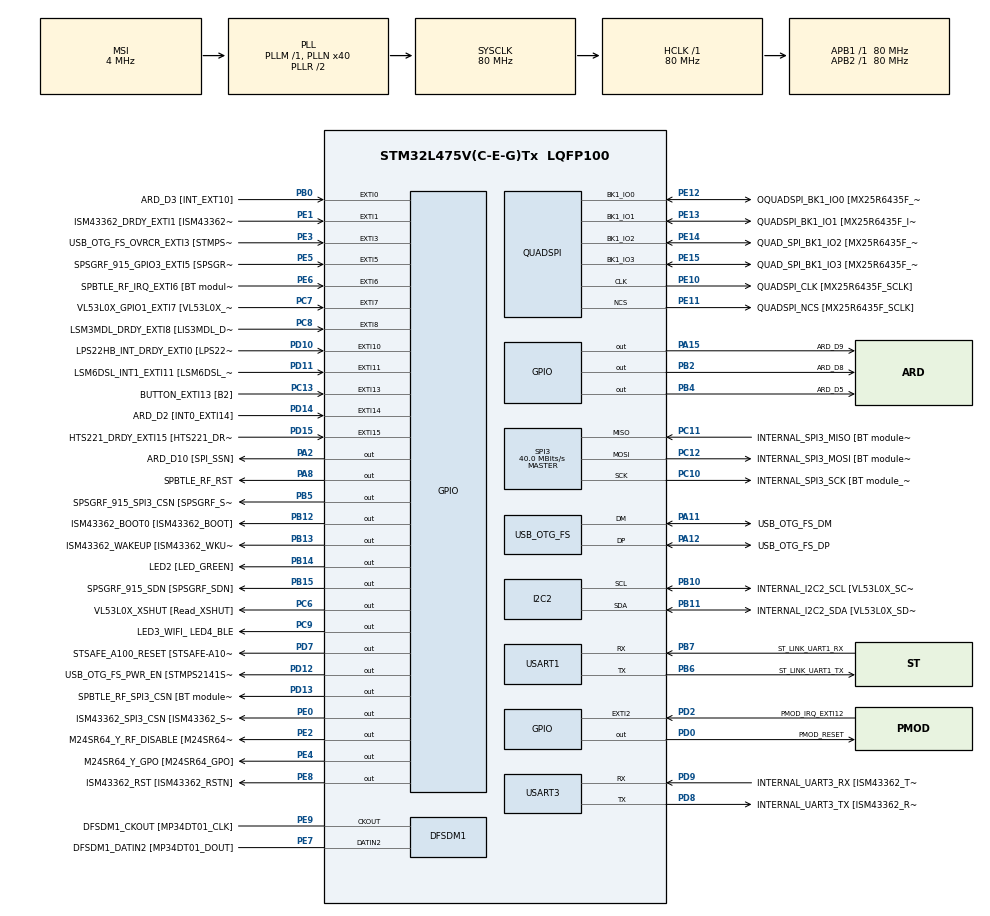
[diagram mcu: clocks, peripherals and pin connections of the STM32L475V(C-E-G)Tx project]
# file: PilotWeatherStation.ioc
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I2C2.Timing=0x10909CEC
Mcu.Family=STM32L4
Mcu.Name=STM32L475V(C-E-G)Tx
Mcu.Package=LQFP100
NVIC.EXTI15_10_IRQn=true\:0\:0\:false\:false\:true\:true\:true\:true
NVIC.EXTI9_5_IRQn=true\:0\:0\:false\:false\:true\:true\:true\:true
NVIC.PriorityGroup=NVIC_PRIORITYGROUP_4
PA0.GPIO_Label=ARD_D1 [UART4_TX]
PA0.Signal=UART4_TX
PA1.GPIO_Label=ARD_D0 [UART4_RX]
PA1.Signal=UART4_RX
PA10.GPIO_Label=USB_OTG_FS_ID
PA10.Signal=USB_OTG_FS_ID
PA11.GPIO_Label=USB_OTG_FS_DM
PA11.Mode=Device_Only
PA11.Signal=USB_OTG_FS_DM
PA12.GPIO_Label=USB_OTG_FS_DP
PA12.Mode=Device_Only
PA12.Signal=USB_OTG_FS_DP
PA13\ (JTMS-SWDIO).GPIO_Label=SYS_JTMS_SWDIO
PA13\ (JTMS-SWDIO).Mode=Serial_Wire
PA13\ (JTMS-SWDIO).Signal=SYS_JTMS-SWDIO
PA14\ (JTCK-SWCLK).GPIO_Label=SYS_JTCK_SWCLK
PA14\ (JTCK-SWCLK).Mode=Serial_Wire
PA14\ (JTCK-SWCLK).Signal=SYS_JTCK-SWCLK
PA15\ (JTDI).GPIO_Label=ARD_D9
PA15\ (JTDI).Signal=GPIO_Output
PA2.GPIO_Label=ARD_D10 [SPI_SSN]
PA2.Signal=GPIO_Output
PA3.GPIO_Label=ARD_D4
PA3.Signal=S_TIM2_CH4
PA4.GPIO_Label=ARD_D7
PA4.Signal=ADCx_IN9
PA5.GPIO_Label=ARD_D13 [SPI1_SCK]
PA5.Signal=SPI1_SCK
PA6.GPIO_Label=ARD_D12 [SPI1_MISO]
PA6.Signal=SPI1_MISO
PA7.GPIO_Label=ARD_D11 [SPI1_MOSI]
PA7.Signal=SPI1_MOSI
PA8.GPIO_Label=SPBTLE_RF_RST
PA8.Signal=GPIO_Output
PA9.GPIO_Label=USB_OTG_FS_VBUS [STMPS2141STR_OUT]
PA9.Signal=USB_OTG_FS_VBUS
PB0.GPIO_Label=ARD_D3 [INT_EXT10]
PB0.Signal=GPXTI0
PB1.GPIO_Label=ARD_D6 [ADC1_IN6]
PB1.Signal=ADCx_IN16
PB10.GPIO_Label=INTERNAL_I2C2_SCL [VL53L0X_SCL]
PB10.GPIO_Pu=GPIO_PULLUP
PB10.Mode=I2C
PB10.Signal=I2C2_SCL
PB11.GPIO_Label=INTERNAL_I2C2_SDA [VL53L0X_SDA]
PB11.GPIO_Pu=GPIO_PULLUP
PB11.Mode=I2C
PB11.Signal=I2C2_SDA
PB12.GPIO_Label=ISM43362_BOOT0 [ISM43362_BOOT]
PB12.Signal=GPIO_Output
PB13.GPIO_Label=ISM43362_WAKEUP [ISM43362_WKUP]
PB13.Signal=GPIO_Output
PB14.GPIO_Label=LED2 [LED_GREEN]
PB14.Signal=GPIO_Output
PB15.GPIO_Label=SPSGRF_915_SDN [SPSGRF_SDN]
PB15.Signal=GPIO_Output
PB2.GPIO_Label=ARD_D8
PB2.Signal=GPIO_Output
PB3\ (JTDO-TRACESWO).GPIO_Label=SYS_JTD0_SWO
PB3\ (JTDO-TRACESWO).Signal=SYS_JTDO-SWO
PB4\ (NJTRST).GPIO_Label=ARD_D5
PB4\ (NJTRST).Signal=GPIO_Output
PB5.GPIO_Label=SPSGRF_915_SPI3_CSN [SPSGRF_SPI_CS]
PB5.PinState=GPIO_PIN_SET
PB5.Signal=GPIO_Output
PB6.GPIO_Label=ST_LINK_UART1_TX
PB6.Mode=Asynchronous
PB6.Signal=USART1_TX
PB7.GPIO_Label=ST_LINK_UART1_RX
PB7.Mode=Asynchronous
PB7.Signal=USART1_RX
PB8.GPIO_Label=ARD_D15 [I2C1_SCL]
PB8.Signal=I2C1_SCL
PB9.GPIO_Label=ARD_D14 [I2C1_SDA]
PB9.Signal=I2C1_SDA
PC0.GPIO_Label=ARD_A5 [ADC]
PC0.Signal=ADCx_IN1
PC1.GPIO_Label=ARD_A4 [ADC]
PC1.Signal=ADCx_IN2
PC10.GPIO_Label=INTERNAL_SPI3_SCK [BT module_SPI_SCLK] [ISM43362_SCK]
PC10.Mode=Full_Duplex_Master
PC10.Signal=SPI3_SCK
PC11.GPIO_Label=INTERNAL_SPI3_MISO [BT module_SPI_MISO] [ISM43362_MISO]
PC11.Mode=Full_Duplex_Master
PC11.Signal=SPI3_MISO
PC12.GPIO_Label=INTERNAL_SPI3_MOSI [BT module_SPI_MOSI] [ISM43362_MOSI]
PC12.Mode=Full_Duplex_Master
PC12.Signal=SPI3_MOSI
PC13.GPIO_Label=BUTTON_EXTI13 [B2]
PC13.GPIO_ModeDefaultEXTI=GPIO_MODE_IT_FALLING
PC13.Signal=GPXTI13
PC14-OSC32_IN\ (PC14).Mode=LSE-External-Oscillator
PC14-OSC32_IN\ (PC14).Signal=RCC_OSC32_IN
PC15-OSC32_OUT\ (PC15).Mode=LSE-External-Oscillator
PC15-OSC32_OUT\ (PC15).Signal=RCC_OSC32_OUT
PC2.GPIO_Label=ARD_A3 [ADC]
PC2.Signal=ADCx_IN3
PC3.GPIO_Label=ARD_A2 [ADC]
PC3.Signal=ADCx_IN4
PC4.GPIO_Label=ARD_A1 [ADC]
PC4.Signal=ADCx_IN13
PC5.GPIO_Label=ARD_A0 [ADC]
PC5.Signal=ADCx_IN14
PC6.GPIO_Label=VL53L0X_XSHUT [Read_XSHUT]
PC6.Signal=GPIO_Output
PC7.GPIO_Label=VL53L0X_GPIO1_EXTI7 [VL53L0X_GPIO1]
PC7.Signal=GPXTI7
PC8.GPIO_Label=LSM3MDL_DRDY_EXTI8 [LIS3MDL_DRDY]
PC8.Signal=GPXTI8
PC9.GPIO_Label=LED3_WIFI_ LED4_BLE
PC9.Signal=GPIO_Output
PD0.GPIO_Label=PMOD_RESET
PD0.Signal=GPIO_Output
PD1.GPIO_Label=PMOD_SPI2_SCK
PD1.Signal=SPI2_SCK
PD10.GPIO_Label=LPS22HB_INT_DRDY_EXTI0 [LPS22HB_INT_DRDY] 
PD10.Signal=GPXTI10
PD11.GPIO_Label=LSM6DSL_INT1_EXTI11 [LSM6DSL_INT1]
PD11.Signal=GPXTI11
PD12.GPIO_Label=USB_OTG_FS_PWR_EN [STMPS2141STR_EN]
PD12.Signal=GPIO_Output
PD13.GPIO_Label=SPBTLE_RF_SPI3_CSN [BT module_SPI_CS]
PD13.PinState=GPIO_PIN_SET
PD13.Signal=GPIO_Output
PD14.GPIO_Label=ARD_D2 [INT0_EXTI14]
PD14.Signal=GPXTI14
PD15.GPIO_Label=HTS221_DRDY_EXTI15 [HTS221_DRDY]
PD15.Signal=GPXTI15
PD2.GPIO_Label=PMOD_IRQ_EXTI12
PD2.Signal=GPXTI2
PD3.GPIO_Label=PMOD_UART2_CTS
PD3.Signal=USART2_CTS
PD4.GPIO_Label=PMOD_UART2_RTS
PD4.Signal=USART2_RTS
PD5.GPIO_Label=PMOD_UART2_TX
PD5.Signal=USART2_TX
PD6.GPIO_Label=PMOD_UART2_RX
PD6.Signal=USART2_RX
PD7.GPIO_Label=STSAFE_A100_RESET [STSAFE-A100_RESET]
PD7.Signal=GPIO_Output
PD8.GPIO_Label=INTERNAL_UART3_TX [ISM43362_RX]
PD8.Mode=Asynchronous
PD8.Signal=USART3_TX
PD9.GPIO_Label=INTERNAL_UART3_RX [ISM43362_TX]
PD9.Mode=Asynchronous
PD9.Signal=USART3_RX
PE0.GPIO_Label=ISM43362_SPI3_CSN [ISM43362_SSN]
PE0.PinState=GPIO_PIN_SET
PE0.Signal=GPIO_Output
PE1.GPIO_Label=ISM43362_DRDY_EXTI1 [ISM43362_DATARDY]
PE1.Signal=GPXTI1
PE10.GPIO_Label=QUADSPI_CLK [MX25R6435F_SCLK]
PE10.Mode=Single Bank
PE10.Signal=QUADSPI_CLK
PE11.GPIO_Label=QUADSPI_NCS [MX25R6435F_SCLK]
PE11.Mode=Single Bank
PE11.Signal=QUADSPI_NCS
PE12.GPIO_Label=OQUADSPI_BK1_IO0 [MX25R6435F_IO0]
PE12.Mode=Single Bank
PE12.Signal=QUADSPI_BK1_IO0
PE13.GPIO_Label=QUADSPI_BK1_IO1 [MX25R6435F_IO1]
PE13.Mode=Single Bank
PE13.Signal=QUADSPI_BK1_IO1
PE14.GPIO_Label=QUAD_SPI_BK1_IO2 [MX25R6435F_IO2]
PE14.Mode=Single Bank
PE14.Signal=QUADSPI_BK1_IO2
PE15.GPIO_Label=QUAD_SPI_BK1_IO3 [MX25R6435F_IO3]
PE15.Mode=Single Bank
PE15.Signal=QUADSPI_BK1_IO3
PE2.GPIO_Label=M24SR64_Y_RF_DISABLE [M24SR64_RFDIS]
PE2.Signal=GPIO_Output
PE3.GPIO_Label=USB_OTG_FS_OVRCR_EXTI3 [STMPS2141STR_FAULT]
PE3.Signal=GPXTI3
PE4.GPIO_Label=M24SR64_Y_GPO [M24SR64_GPO]
PE4.Signal=GPIO_Output
PE5.GPIO_Label=SPSGRF_915_GPIO3_EXTI5 [SPSGRF_GPIO_3]
PE5.Signal=GPXTI5
PE6.GPIO_Label=SPBTLE_RF_IRQ_EXTI6 [BT module_SPI_IRQ]
PE6.Signal=GPXTI6
PE7.GPIO_Label=DFSDM1_DATIN2 [MP34DT01_DOUT]
PE7.Signal=S_DATAIN2DFSDM1
PE8.GPIO_Label=ISM43362_RST [ISM43362_RSTN]
PE8.Signal=GPIO_Output
PE9.GPIO_Label=DFSDM1_CKOUT [MP34DT01_CLK]
PE9.Signal=S_CKOUTDFSDM1
ProjectManager.HeapSize=0x200
ProjectManager.StackSize=0x400
ProjectManager.TargetToolchain=EWARM V8.32
QUADSPI.ClockPrescaler=2
QUADSPI.FifoThreshold=4
QUADSPI.FlashSize=23
QUADSPI.SampleShifting=QSPI_SAMPLE_SHIFTING_HALFCYCLE
RCC.ADCFreq_Value=48000000
RCC.AHBFreq_Value=80000000
RCC.APB1Freq_Value=80000000
RCC.APB1TimFreq_Value=80000000
RCC.APB2Freq_Value=80000000
RCC.APB2TimFreq_Value=80000000
RCC.CortexFreq_Value=80000000
RCC.HCLKFreq_Value=80000000
RCC.HSE_VALUE=8000000
RCC.HSI_VALUE=16000000
RCC.MSI_VALUE=4000000
RCC.PLLN=40
RCC.PLLSAI1N=24
RCC.SYSCLKFreq_VALUE=80000000
RCC.SYSCLKSource=RCC_SYSCLKSOURCE_PLLCLK
RCC.USBFreq_Value=48000000
RCC.VCOOutputFreq_Value=160000000
SH.ADCx_IN1.0=ADC1_IN1
SH.ADCx_IN13.0=ADC1_IN13
SH.ADCx_IN14.0=ADC1_IN14
SH.ADCx_IN16.0=ADC1_IN16
SH.ADCx_IN2.0=ADC1_IN2
SH.ADCx_IN3.0=ADC1_IN3
SH.ADCx_IN4.0=ADC1_IN4
SH.ADCx_IN9.0=ADC1_IN9
SH.S_CKOUTDFSDM1.0=DFSDM1_CKOUT,CKOUT
SH.S_CKOUTDFSDM1.1=DFSDM1_CKOUT,PDM_SPI_Input_from_ch12_and_Internal_Clock
SH.S_DATAIN2DFSDM1.0=DFSDM1_DATIN2,PDM_SPI_Input_from_ch12_and_Internal_Clock
SH.S_TIM2_CH4.0=TIM2_CH4
SPI3.CalculateBaudRate=40.0 MBits/s
SPI3.Direction=SPI_DIRECTION_2LINES
SPI3.Mode=SPI_MODE_MASTER
SPI3.VirtualType=VM_MASTER
USART1.VirtualMode-Asynchronous=VM_ASYNC
USART3.VirtualMode-Asynchronous=VM_ASYNC
USB_OTG_FS.VirtualMode=Device_Only
board=B-L475E-IOT01A2

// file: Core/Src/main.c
/* USER CODE BEGIN Header */
/**
  ******************************************************************************
  * @file           : main.c
  * @brief          : Main program body
  ******************************************************************************
  * @attention
  *
  * Copyright (c) 2022 STMicroelectronics.
  * All rights reserved.
  *
  * This software is licensed under terms that can be found in the LICENSE file
  * in the root directory of this software component.
  * If no LICENSE file comes with this software, it is provided AS-IS.
  *
  ******************************************************************************
  */
/* USER CODE END Header */
#include "main.h"
#include "dfsdm.h"
#include "i2c.h"
#include "quadspi.h"
#include "spi.h"
#include "usart.h"
#include "usb_otg.h"
#include "consoleIo.h"
#include "ConsoleCommands.h"
#include "console.h"
#include "gpio.h"
#include <stdio.h>
#include <stdlib.h>
#include <hts221_driver.h>
#include <lps22_driver.h>
#include "system_SM.h"

#ifdef __GNUC__
  /* With GCC, small printf (option LD Linker->Libraries->Small printf
     set to 'Yes') calls __io_putchar() */
  #define PUTCHAR_PROTOTYPE int __io_putchar(int ch)
#else
  #define PUTCHAR_PROTOTYPE int fputc(int ch, FILE *f)
#endif /* __GNUC__ */
void SystemClock_Config(void);

int main(void)
{

  /* MCU Configuration--------------------------------------------------------*/

  /* Reset of all peripherals, Initializes the Flash interface and the Systick. */
  HAL_Init();

  /* USER CODE BEGIN Init */
  //ConsoleInit();

  /* USER CODE END Init */

  /* Configure the system clock */
  SystemClock_Config();

  /* Initialize all configured peripherals */

  /* Infinite loop */
  /* USER CODE BEGIN WHILE */
  while (1)
  {

    //ConsoleProcess();
    executeStateMachine();

     /* USER CODE END WHILE */

  }
}

void SystemClock_Config(void)
{
  RCC_OscInitTypeDef RCC_OscInitStruct = {0};
  RCC_ClkInitTypeDef RCC_ClkInitStruct = {0};

  /** Configure the main internal regulator output voltage
  */
  if (HAL_PWREx_ControlVoltageScaling(PWR_REGULATOR_VOLTAGE_SCALE1) != HAL_OK)
  {
    Error_Handler();
  }

  /** Configure LSE Drive Capability
  */
  HAL_PWR_EnableBkUpAccess();
  __HAL_RCC_LSEDRIVE_CONFIG(RCC_LSEDRIVE_LOW);

  /** Initializes the RCC Oscillators according to the specified parameters
  * in the RCC_OscInitTypeDef structure.
  */
  RCC_OscInitStruct.OscillatorType = RCC_OSCILLATORTYPE_LSE|RCC_OSCILLATORTYPE_MSI;
  RCC_OscInitStruct.LSEState = RCC_LSE_ON;
  RCC_OscInitStruct.MSIState = RCC_MSI_ON;
  RCC_OscInitStruct.MSICalibrationValue = 0;
  RCC_OscInitStruct.MSIClockRange = RCC_MSIRANGE_6;
  RCC_OscInitStruct.PLL.PLLState = RCC_PLL_ON;
  RCC_OscInitStruct.PLL.PLLSource = RCC_PLLSOURCE_MSI;
  RCC_OscInitStruct.PLL.PLLM = 1;
  RCC_OscInitStruct.PLL.PLLN = 40;
  RCC_OscInitStruct.PLL.PLLP = RCC_PLLP_DIV7;
  RCC_OscInitStruct.PLL.PLLQ = RCC_PLLQ_DIV2;
  RCC_OscInitStruct.PLL.PLLR = RCC_PLLR_DIV2;
  if (HAL_RCC_OscConfig(&RCC_OscInitStruct) != HAL_OK)
  {
    Error_Handler();
  }

  /** Initializes the CPU, AHB and APB buses clocks
  */
  RCC_ClkInitStruct.ClockType = RCC_CLOCKTYPE_HCLK|RCC_CLOCKTYPE_SYSCLK
                              |RCC_CLOCKTYPE_PCLK1|RCC_CLOCKTYPE_PCLK2;
  RCC_ClkInitStruct.SYSCLKSource = RCC_SYSCLKSOURCE_PLLCLK;
  RCC_ClkInitStruct.AHBCLKDivider = RCC_SYSCLK_DIV1;
  RCC_ClkInitStruct.APB1CLKDivider = RCC_HCLK_DIV1;
  RCC_ClkInitStruct.APB2CLKDivider = RCC_HCLK_DIV1;

  if (HAL_RCC_ClockConfig(&RCC_ClkInitStruct, FLASH_LATENCY_4) != HAL_OK)
  {
    Error_Handler();
  }

  /** Enable MSI Auto calibration
  */
  HAL_RCCEx_EnableMSIPLLMode();
}

/* USER CODE BEGIN 4 */
void System_Init(void)
{
  /*Initalize all peripherals*/
  MX_GPIO_Init();
  MX_DFSDM1_Init();
  MX_I2C2_Init();
  MX_QUADSPI_Init();
  MX_SPI3_Init();
  MX_USART1_UART_Init();
  MX_USART3_UART_Init();
  MX_USB_OTG_FS_PCD_Init();

  /*Initalize Sensors*/
  HTS221_Init();
  LPS22HB_Init();
}

void System_DeInit(void)
{
  ConsoleIoSendString("Entering Sleep Mode");
  HAL_I2C_MspDeInit(&hi2c2);
  //HAL_UART_DeInit(&huart1);
  HAL_SPI_DeInit(&hspi3);

}

/**
  * @brief  Retargets the C library printf function to the USART.
  * @param  None
  * @retval None
  */
PUTCHAR_PROTOTYPE
{
  /* Place your implementation of fputc here */
  /* e.g. write a character to the EVAL_COM1 and Loop until the end of transmission */
  HAL_UART_Transmit(&huart3, (uint8_t *)&ch, 1, 0xFFFF);

  return ch;
}

/* USER CODE END 4 */

void Error_Handler(void)
{
  __disable_irq();
  while (1)
  {
  }
}
